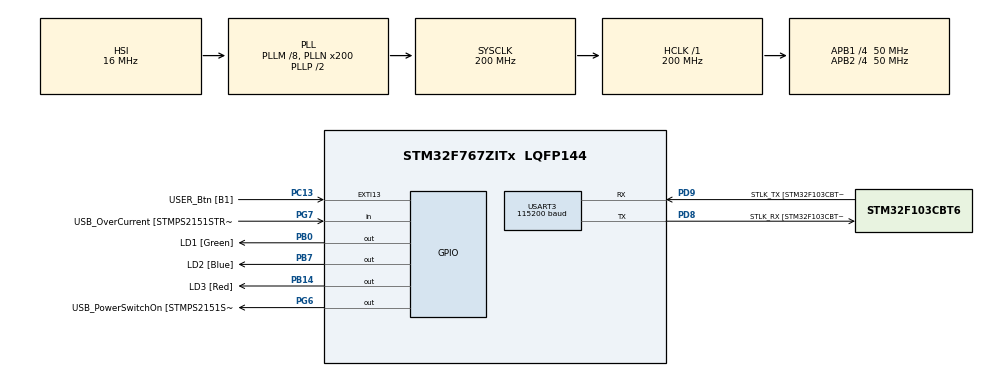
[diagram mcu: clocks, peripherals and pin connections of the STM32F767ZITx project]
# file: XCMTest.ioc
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CORTEX_M7.ART_ACCELERATOR_ENABLE=1
CORTEX_M7.CPU_DCache=Enabled
CORTEX_M7.CPU_ICache=Enabled
CORTEX_M7.FlashInterface=TCM_Enabled
CORTEX_M7.PREFETCH_ENABLE=1
Dma.Request0=USART3_RX
Dma.USART3_RX.0.Direction=DMA_PERIPH_TO_MEMORY
Dma.USART3_RX.0.FIFOMode=DMA_FIFOMODE_DISABLE
Dma.USART3_RX.0.Instance=DMA1_Stream1
Dma.USART3_RX.0.MemDataAlignment=DMA_MDATAALIGN_BYTE
Dma.USART3_RX.0.MemInc=DMA_MINC_ENABLE
Dma.USART3_RX.0.Mode=DMA_CIRCULAR
Dma.USART3_RX.0.PeriphDataAlignment=DMA_PDATAALIGN_BYTE
Dma.USART3_RX.0.PeriphInc=DMA_PINC_DISABLE
Dma.USART3_RX.0.Priority=DMA_PRIORITY_VERY_HIGH
Mcu.Family=STM32F7
Mcu.Name=STM32F767ZITx
Mcu.Package=LQFP144
NVIC.DMA1_Stream1_IRQn=true\:0\:0\:false\:false\:true\:false\:true
NVIC.PriorityGroup=NVIC_PRIORITYGROUP_4
NVIC.USART3_IRQn=true\:0\:0\:false\:false\:true\:true\:true
PA1.GPIO_Label=RMII_REF_CLK [LAN8742A-CZ-TR_REFCLK0]
PA1.Signal=ETH_REF_CLK
PA10.GPIO_Label=USB_ID
PA10.Signal=USB_OTG_FS_ID
PA11.GPIO_Label=USB_DM
PA11.Signal=USB_OTG_FS_DM
PA12.GPIO_Label=USB_DP
PA12.Signal=USB_OTG_FS_DP
PA13.GPIO_Label=TMS
PA13.Mode=Serial_Wire
PA13.Signal=SYS_JTMS-SWDIO
PA14.GPIO_Label=TCK
PA14.Mode=Serial_Wire
PA14.Signal=SYS_JTCK-SWCLK
PA2.GPIO_Label=RMII_MDIO [LAN8742A-CZ-TR_MDIO]
PA2.Signal=ETH_MDIO
PA7.GPIO_Label=RMII_CRS_DV [LAN8742A-CZ-TR_CRS_DV]
PA7.Signal=ETH_CRS_DV
PA8.GPIO_Label=USB_SOF [TP1]
PA8.Signal=USB_OTG_FS_SOF
PA9.GPIO_Label=USB_VBUS
PA9.Signal=USB_OTG_FS_VBUS
PB0.GPIO_Label=LD1 [Green]
PB0.Signal=GPIO_Output
PB13.GPIO_Label=RMII_TXD1 [LAN8742A-CZ-TR_TXD1]
PB13.Signal=ETH_TXD1
PB14.GPIO_Label=LD3 [Red]
PB14.Signal=GPIO_Output
PB3.GPIO_Label=SWO
PB3.Signal=SYS_JTDO-SWO
PB7.GPIO_Label=LD2 [Blue]
PB7.Signal=GPIO_Output
PC1.GPIO_Label=RMII_MDC [LAN8742A-CZ-TR_MDC]
PC1.Signal=ETH_MDC
PC13.GPIO_Label=USER_Btn [B1]
PC13.Signal=GPXTI13
PC14/OSC32_IN.Mode=LSE-External-Oscillator
PC14/OSC32_IN.Signal=RCC_OSC32_IN
PC15/OSC32_OUT.Mode=LSE-External-Oscillator
PC15/OSC32_OUT.Signal=RCC_OSC32_OUT
PC4.GPIO_Label=RMII_RXD0 [LAN8742A-CZ-TR_RXD0]
PC4.Signal=ETH_RXD0
PC5.GPIO_Label=RMII_RXD1 [LAN8742A-CZ-TR_RXD1]
PC5.Signal=ETH_RXD1
PD8.GPIO_Label=STLK_RX [STM32F103CBT6_PA3]
PD8.Mode=Asynchronous
PD8.Signal=USART3_TX
PD9.GPIO_Label=STLK_TX [STM32F103CBT6_PA2]
PD9.Mode=Asynchronous
PD9.Signal=USART3_RX
PG11.GPIO_Label=RMII_TX_EN [LAN8742A-CZ-TR_TXEN]
PG11.Signal=ETH_TX_EN
PG13.GPIO_Label=RMII_TXD0 [LAN8742A-CZ-TR_TXD0]
PG13.Signal=ETH_TXD0
PG6.GPIO_Label=USB_PowerSwitchOn [STMPS2151STR_EN]
PG6.Signal=GPIO_Output
PG7.GPIO_Label=USB_OverCurrent [STMPS2151STR_FAULT]
PG7.Signal=GPIO_Input
PH0/OSC_IN.GPIO_Label=MCO [STM32F103CBT6_PA8]
PH0/OSC_IN.Mode=HSE-External-Clock-Source
PH0/OSC_IN.Signal=RCC_OSC_IN
PH1/OSC_OUT.Mode=HSE-External-Clock-Source
PH1/OSC_OUT.Signal=RCC_OSC_OUT
ProjectManager.HeapSize=0x200
ProjectManager.StackSize=0x400
ProjectManager.TargetToolchain=STM32CubeIDE
RCC.48MHZClocksFreq_Value=24000000
RCC.AHBFreq_Value=200000000
RCC.APB1CLKDivider=RCC_HCLK_DIV4
RCC.APB1Freq_Value=50000000
RCC.APB1TimFreq_Value=100000000
RCC.APB2CLKDivider=RCC_HCLK_DIV4
RCC.APB2Freq_Value=50000000
RCC.APB2TimFreq_Value=100000000
RCC.CortexFreq_Value=200000000
RCC.HCLKFreq_Value=200000000
RCC.HSE_VALUE=8000000
RCC.HSI_VALUE=16000000
RCC.PLLM=8
RCC.PLLMUL=RCC_PLL_MUL9
RCC.PLLN=200
RCC.PLLQ=4
RCC.PRESCALERUSB=RCC_USBCLKSOURCE_PLL_DIV1_5
RCC.SYSCLKFreq_VALUE=200000000
RCC.SYSCLKSource=RCC_SYSCLKSOURCE_PLLCLK
RCC.SYSCLKSourceVirtual=RCC_SYSCLKSOURCE_PLLCLK
RCC.USBFreq_Value=100000000
RCC.VCOOutputFreq_Value=400000000
USART3.BaudRate=115200
USART3.DMADisableonRxErrorParam=ADVFEATURE_DMA_DISABLEONRXERROR
USART3.OneBitSampling=UART_ONE_BIT_SAMPLE_DISABLE
USART3.OverSampling=UART_OVERSAMPLING_8
USART3.OverrunDisableParam=ADVFEATURE_OVERRUN_ENABLE
USART3.VirtualMode-Asynchronous=VM_ASYNC
board=NUCLEO-F767ZI

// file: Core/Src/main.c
/* USER CODE BEGIN Header */
/**
  ******************************************************************************
  * @file           : main.c
  * @brief          : Main program body
  ******************************************************************************
  * @attention
  *
  * Copyright (c) 2022 STMicroelectronics.
  * All rights reserved.
  *
  * This software is licensed under terms that can be found in the LICENSE file
  * in the root directory of this software component.
  * If no LICENSE file comes with this software, it is provided AS-IS.
  *
  ******************************************************************************
  */
/* USER CODE END Header */
#include "main.h"

/* USER CODE BEGIN Includes */
#include "dmaRingBuffer.h"
#include "commandhandler.hpp"
/* USER CODE END Includes */

UART_HandleTypeDef huart3;
DMA_HandleTypeDef hdma_usart3_rx;

void SystemClock_Config(void);
static void MX_GPIO_Init(void);
static void MX_USART3_UART_Init(void);
static void MX_DMA_Init(void);

/* USER CODE BEGIN 0 */
dmaRingBuffer_t uartRingBuffer;
uint8_t uartData[100]  __attribute__ ((section(".tcm")));
/* USER CODE END 0 */

int main(void)
{

  /* Enable I-Cache---------------------------------------------------------*/
  SCB_EnableICache();

  /* Enable D-Cache---------------------------------------------------------*/
  SCB_EnableDCache();

  /* MCU Configuration--------------------------------------------------------*/

  /* Reset of all peripherals, Initializes the Flash interface and the Systick. */
  HAL_Init();

  /* Configure the system clock */
  SystemClock_Config();

  /* USER CODE BEGIN SysInit */
  LL_AHB1_GRP1_EnableClock(LL_AHB1_GRP1_PERIPH_DMA1); //Bugfix
  /* USER CODE END SysInit */

  /* Initialize all configured peripherals */
  MX_GPIO_Init();
  MX_USART3_UART_Init();
  MX_DMA_Init();
  /* USER CODE BEGIN 2 */
  HAL_UART_Receive_DMA(&huart3, uartData, sizeof(uartData));
  dma_Init(&uartRingBuffer, huart3.hdmarx, uartData, sizeof(uartData));
  MX_USART3_UART_Init();
  uint8_t msg[10];
  /* USER CODE END 2 */

  /* Infinite loop */
  /* USER CODE BEGIN WHILE */
  while (1)
  {
	  if(dma_GetBytesToRead(&uartRingBuffer) > 0)
	  {
		  size_t bytes = dma_ReadBytes(&uartRingBuffer, msg, sizeof(msg));
		  parseInput(msg, bytes);
	  }
	  loop();
    /* USER CODE END WHILE */

  }
}

void SystemClock_Config(void)
{
  RCC_OscInitTypeDef RCC_OscInitStruct = {0};
  RCC_ClkInitTypeDef RCC_ClkInitStruct = {0};

  /** Configure LSE Drive Capability
  */
  HAL_PWR_EnableBkUpAccess();
  /** Configure the main internal regulator output voltage
  */
  __HAL_RCC_PWR_CLK_ENABLE();
  __HAL_PWR_VOLTAGESCALING_CONFIG(PWR_REGULATOR_VOLTAGE_SCALE1);
  /** Initializes the RCC Oscillators according to the specified parameters
  * in the RCC_OscInitTypeDef structure.
  */
  RCC_OscInitStruct.OscillatorType = RCC_OSCILLATORTYPE_HSI;
  RCC_OscInitStruct.HSIState = RCC_HSI_ON;
  RCC_OscInitStruct.HSICalibrationValue = RCC_HSICALIBRATION_DEFAULT;
  RCC_OscInitStruct.PLL.PLLState = RCC_PLL_ON;
  RCC_OscInitStruct.PLL.PLLSource = RCC_PLLSOURCE_HSI;
  RCC_OscInitStruct.PLL.PLLM = 8;
  RCC_OscInitStruct.PLL.PLLN = 200;
  RCC_OscInitStruct.PLL.PLLP = RCC_PLLP_DIV2;
  RCC_OscInitStruct.PLL.PLLQ = 4;
  RCC_OscInitStruct.PLL.PLLR = 2;
  if (HAL_RCC_OscConfig(&RCC_OscInitStruct) != HAL_OK)
  {
    Error_Handler();
  }
  /** Activate the Over-Drive mode
  */
  if (HAL_PWREx_EnableOverDrive() != HAL_OK)
  {
    Error_Handler();
  }
  /** Initializes the CPU, AHB and APB buses clocks
  */
  RCC_ClkInitStruct.ClockType = RCC_CLOCKTYPE_HCLK|RCC_CLOCKTYPE_SYSCLK
                              |RCC_CLOCKTYPE_PCLK1|RCC_CLOCKTYPE_PCLK2;
  RCC_ClkInitStruct.SYSCLKSource = RCC_SYSCLKSOURCE_PLLCLK;
  RCC_ClkInitStruct.AHBCLKDivider = RCC_SYSCLK_DIV1;
  RCC_ClkInitStruct.APB1CLKDivider = RCC_HCLK_DIV4;
  RCC_ClkInitStruct.APB2CLKDivider = RCC_HCLK_DIV4;

  if (HAL_RCC_ClockConfig(&RCC_ClkInitStruct, FLASH_LATENCY_6) != HAL_OK)
  {
    Error_Handler();
  }
}

static void MX_USART3_UART_Init(void)
{

  huart3.Instance = USART3;
  huart3.Init.BaudRate = 115200;
  huart3.Init.WordLength = UART_WORDLENGTH_8B;
  huart3.Init.StopBits = UART_STOPBITS_1;
  huart3.Init.Parity = UART_PARITY_NONE;
  huart3.Init.Mode = UART_MODE_TX_RX;
  huart3.Init.HwFlowCtl = UART_HWCONTROL_NONE;
  huart3.Init.OverSampling = UART_OVERSAMPLING_8;
  huart3.Init.OneBitSampling = UART_ONE_BIT_SAMPLE_DISABLE;
  huart3.AdvancedInit.AdvFeatureInit = UART_ADVFEATURE_DMADISABLEONERROR_INIT;
  huart3.AdvancedInit.DMADisableonRxError = UART_ADVFEATURE_DMA_DISABLEONRXERROR;
  if (HAL_UART_Init(&huart3) != HAL_OK)
  {
    Error_Handler();
  }

}

static void MX_DMA_Init(void)
{

  /* Init with LL driver */
  /* DMA controller clock enable */
  LL_AHB1_GRP1_EnableClock(LL_AHB1_GRP1_PERIPH_DMA1);

  /* DMA interrupt init */
  /* DMA1_Stream1_IRQn interrupt configuration */
  HAL_NVIC_SetPriority(DMA1_Stream1_IRQn, 0, 0);
  HAL_NVIC_EnableIRQ(DMA1_Stream1_IRQn);

}

static void MX_GPIO_Init(void)
{
  GPIO_InitTypeDef GPIO_InitStruct = {0};

  /* GPIO Ports Clock Enable */
  __HAL_RCC_GPIOC_CLK_ENABLE();
  __HAL_RCC_GPIOH_CLK_ENABLE();
  __HAL_RCC_GPIOA_CLK_ENABLE();
  __HAL_RCC_GPIOB_CLK_ENABLE();
  __HAL_RCC_GPIOD_CLK_ENABLE();
  __HAL_RCC_GPIOG_CLK_ENABLE();

  /*Configure GPIO pin Output Level */
  HAL_GPIO_WritePin(GPIOB, LD1_Pin|LD3_Pin|LD2_Pin, GPIO_PIN_RESET);

  /*Configure GPIO pin Output Level */
  HAL_GPIO_WritePin(USB_PowerSwitchOn_GPIO_Port, USB_PowerSwitchOn_Pin, GPIO_PIN_RESET);

  /*Configure GPIO pin : USER_Btn_Pin */
  GPIO_InitStruct.Pin = USER_Btn_Pin;
  GPIO_InitStruct.Mode = GPIO_MODE_IT_RISING;
  GPIO_InitStruct.Pull = GPIO_NOPULL;
  HAL_GPIO_Init(USER_Btn_GPIO_Port, &GPIO_InitStruct);

  /*Configure GPIO pins : RMII_MDC_Pin RMII_RXD0_Pin RMII_RXD1_Pin */
  GPIO_InitStruct.Pin = RMII_MDC_Pin|RMII_RXD0_Pin|RMII_RXD1_Pin;
  GPIO_InitStruct.Mode = GPIO_MODE_AF_PP;
  GPIO_InitStruct.Pull = GPIO_NOPULL;
  GPIO_InitStruct.Speed = GPIO_SPEED_FREQ_VERY_HIGH;
  GPIO_InitStruct.Alternate = GPIO_AF11_ETH;
  HAL_GPIO_Init(GPIOC, &GPIO_InitStruct);

  /*Configure GPIO pins : RMII_REF_CLK_Pin RMII_MDIO_Pin RMII_CRS_DV_Pin */
  GPIO_InitStruct.Pin = RMII_REF_CLK_Pin|RMII_MDIO_Pin|RMII_CRS_DV_Pin;
  GPIO_InitStruct.Mode = GPIO_MODE_AF_PP;
  GPIO_InitStruct.Pull = GPIO_NOPULL;
  GPIO_InitStruct.Speed = GPIO_SPEED_FREQ_VERY_HIGH;
  GPIO_InitStruct.Alternate = GPIO_AF11_ETH;
  HAL_GPIO_Init(GPIOA, &GPIO_InitStruct);

  /*Configure GPIO pins : LD1_Pin LD3_Pin LD2_Pin */
  GPIO_InitStruct.Pin = LD1_Pin|LD3_Pin|LD2_Pin;
  GPIO_InitStruct.Mode = GPIO_MODE_OUTPUT_PP;
  GPIO_InitStruct.Pull = GPIO_NOPULL;
  GPIO_InitStruct.Speed = GPIO_SPEED_FREQ_LOW;
  HAL_GPIO_Init(GPIOB, &GPIO_InitStruct);

  /*Configure GPIO pin : RMII_TXD1_Pin */
  GPIO_InitStruct.Pin = RMII_TXD1_Pin;
  GPIO_InitStruct.Mode = GPIO_MODE_AF_PP;
  GPIO_InitStruct.Pull = GPIO_NOPULL;
  GPIO_InitStruct.Speed = GPIO_SPEED_FREQ_VERY_HIGH;
  GPIO_InitStruct.Alternate = GPIO_AF11_ETH;
  HAL_GPIO_Init(RMII_TXD1_GPIO_Port, &GPIO_InitStruct);

  /*Configure GPIO pin : USB_PowerSwitchOn_Pin */
  GPIO_InitStruct.Pin = USB_PowerSwitchOn_Pin;
  GPIO_InitStruct.Mode = GPIO_MODE_OUTPUT_PP;
  GPIO_InitStruct.Pull = GPIO_NOPULL;
  GPIO_InitStruct.Speed = GPIO_SPEED_FREQ_LOW;
  HAL_GPIO_Init(USB_PowerSwitchOn_GPIO_Port, &GPIO_InitStruct);

  /*Configure GPIO pin : USB_OverCurrent_Pin */
  GPIO_InitStruct.Pin = USB_OverCurrent_Pin;
  GPIO_InitStruct.Mode = GPIO_MODE_INPUT;
  GPIO_InitStruct.Pull = GPIO_NOPULL;
  HAL_GPIO_Init(USB_OverCurrent_GPIO_Port, &GPIO_InitStruct);

  /*Configure GPIO pins : USB_SOF_Pin USB_ID_Pin USB_DM_Pin USB_DP_Pin */
  GPIO_InitStruct.Pin = USB_SOF_Pin|USB_ID_Pin|USB_DM_Pin|USB_DP_Pin;
  GPIO_InitStruct.Mode = GPIO_MODE_AF_PP;
  GPIO_InitStruct.Pull = GPIO_NOPULL;
  GPIO_InitStruct.Speed = GPIO_SPEED_FREQ_VERY_HIGH;
  GPIO_InitStruct.Alternate = GPIO_AF10_OTG_FS;
  HAL_GPIO_Init(GPIOA, &GPIO_InitStruct);

  /*Configure GPIO pin : USB_VBUS_Pin */
  GPIO_InitStruct.Pin = USB_VBUS_Pin;
  GPIO_InitStruct.Mode = GPIO_MODE_INPUT;
  GPIO_InitStruct.Pull = GPIO_NOPULL;
  HAL_GPIO_Init(USB_VBUS_GPIO_Port, &GPIO_InitStruct);

  /*Configure GPIO pins : RMII_TX_EN_Pin RMII_TXD0_Pin */
  GPIO_InitStruct.Pin = RMII_TX_EN_Pin|RMII_TXD0_Pin;
  GPIO_InitStruct.Mode = GPIO_MODE_AF_PP;
  GPIO_InitStruct.Pull = GPIO_NOPULL;
  GPIO_InitStruct.Speed = GPIO_SPEED_FREQ_VERY_HIGH;
  GPIO_InitStruct.Alternate = GPIO_AF11_ETH;
  HAL_GPIO_Init(GPIOG, &GPIO_InitStruct);

}

/* USER CODE BEGIN 4 */
void HAL_UART_ErrorCallback(UART_HandleTypeDef *huart)
{
	if(huart->Instance == USART3)
	{
		HAL_UART_Receive_DMA(&huart3, uartData, sizeof(uartData));
		MX_USART3_UART_Init();
	}
}
/* USER CODE END 4 */

void Error_Handler(void)
{
  __disable_irq();
  while (1)
  {
  }
}
